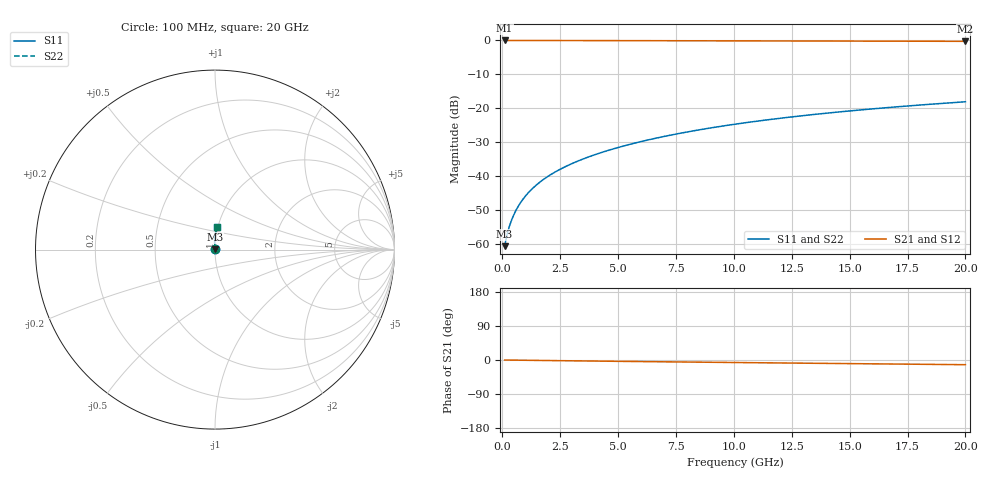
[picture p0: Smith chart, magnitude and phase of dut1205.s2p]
! Touchstone file exported from HFSS 2024.1.0
!  File:  C:/UserFiles/LocalFiles/RDL_TSV_Batchsim/temp_RDL_top_1205_1780239625.aedt
!  Generated:  11:02:13 PM May 31, 2026
!  Design:  RDL_top
!  Project:  temp_RDL_top_1205_1780239625
!  Setup:  Setup1
!  Solution:  Sweep
! Variables:
!  dtsv = 10.80580581um
!  hbump = 3um
!  htsv = 98.03um
!  ldown = 100um
!  lrdl = 156.86um
!  p = 40
!  p1 = 49.58um
!  rhole = 1um
!  t = 450um
!  tdown = 3.915915916um
!  trdl = 4.03um
!  wdown = 15.38538539um
!  wrdl = 26.58um
# GHz S MA R 50.000000
! Terminal data exported
! Port[1] = Box2_T1
! Port[2] = Box2_T2
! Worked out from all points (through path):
!   200 points, 100 MHz to 20 GHz, reference 50 ohm
!   highest |S21| = -0.01 dB at 100 MHz (marker M1); lowest = -0.3 dB at 20 GHz (marker M2)
!   group delay of S21, straight-line fit = 1.7 ps
!   lowest |S11| = -60.7 dB at 100 MHz (marker M3), VSWR 1.00, Z = 50.1 + j0.0562 ohm
!   |S11| at or under -10 dB: start of sweep to end of sweep
!   |S22| runs from -60.7 to -18.1 dB; largest |S21 - S12| = 4.2e-15
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0.1  0.0009226 37.5  0.9993 -0.1  0.9993 -0.1  0.0009226 37.5
! Gamma 0 0 0 0
! Port Impedance 50 0 50 0
0.2  0.001337 54.4  0.9992 -0.2  0.9992 -0.2  0.001337 54.4
0.3  0.001782 62.8  0.9991 -0.2  0.9991 -0.2  0.001782 62.8
0.4  0.002234 68.0  0.9991 -0.3  0.9991 -0.3  0.002234 68.0
0.5  0.002692 71.7  0.999 -0.4  0.999 -0.4  0.002692 71.7
0.6  0.003157 74.5  0.999 -0.4  0.999 -0.4  0.003157 74.5
0.8  0.004101 78.3  0.9989 -0.6  0.9989 -0.6  0.004101 78.3
1.1  0.005548 81.9  0.9988 -0.8  0.9988 -0.8  0.005548 81.9
1.5  0.007514 84.9  0.9985 -1.1  0.9985 -1.1  0.007514 84.9
1.8  0.009013 86.3  0.9982 -1.3  0.9982 -1.3  0.009013 86.3
2.1  0.01053 87.5  0.9979 -1.5  0.9979 -1.5  0.01053 87.5
2.7  0.01363 89.2  0.9973 -2.0  0.9973 -2.0  0.01363 89.2
3.5  0.01789 90.7  0.9962 -2.5  0.9962 -2.5  0.01789 90.7
4.2  0.02176 91.6  0.9951 -3.0  0.9951 -3.0  0.02176 91.6
5  0.02634 92.3  0.9937 -3.5  0.9937 -3.5  0.02634 92.3
6.8  0.03719 92.8  0.9905 -4.7  0.9905 -4.7  0.03719 92.8
8.4  0.04734 92.5  0.9876 -5.7  0.9876 -5.7  0.04734 92.5
10.1  0.05846 91.7  0.9847 -6.7  0.9847 -6.7  0.05846 91.7
11.7  0.06911 90.7  0.9821 -7.6  0.9821 -7.6  0.06911 90.7
13.4  0.08051 89.4  0.9795 -8.6  0.9795 -8.6  0.08051 89.4
16.7  0.1026 86.9  0.9748 -10.5  0.9748 -10.5  0.1026 86.9
20  0.1245 84.3  0.9703 -12.4  0.9703 -12.4  0.1245 84.3
